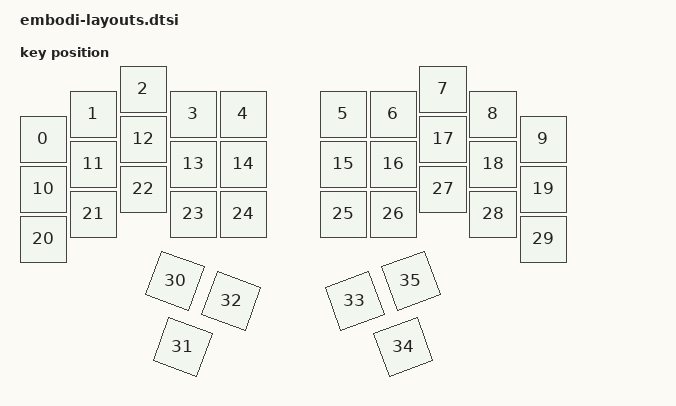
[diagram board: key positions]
#include <physical_layouts.dtsi>

#include <physical_layouts.dtsi>

/ {
    physical_layout0: physical_layout_0 {
        compatible = "zmk,physical-layout";
        display-name = "Embodi";

        kscan = <&kscan0>;
        transform = <&matrix_transform0>;

        keys  //                     w   h    x    y     rot    rx    ry
            = <&key_physical_attrs 100 100    0  100       0     0     0>
            , <&key_physical_attrs 100 100  100   50       0     0     0>
            , <&key_physical_attrs 100 100  200    0       0     0     0>
            , <&key_physical_attrs 100 100  300   50       0     0     0>
            , <&key_physical_attrs 100 100  400   50       0     0     0>
            , <&key_physical_attrs 100 100  600   50       0     0     0>
            , <&key_physical_attrs 100 100  700   50       0     0     0>
            , <&key_physical_attrs 100 100  800    0       0     0     0>
            , <&key_physical_attrs 100 100  900   50       0     0     0>
            , <&key_physical_attrs 100 100 1000  100       0     0     0>
            , <&key_physical_attrs 100 100    0  200       0     0     0>
            , <&key_physical_attrs 100 100  100  150       0     0     0>
            , <&key_physical_attrs 100 100  200  100       0     0     0>
            , <&key_physical_attrs 100 100  300  150       0     0     0>
            , <&key_physical_attrs 100 100  400  150       0     0     0>
            , <&key_physical_attrs 100 100  600  150       0     0     0>
            , <&key_physical_attrs 100 100  700  150       0     0     0>
            , <&key_physical_attrs 100 100  800  100       0     0     0>
            , <&key_physical_attrs 100 100  900  150       0     0     0>
            , <&key_physical_attrs 100 100 1000  200       0     0     0>
            , <&key_physical_attrs 100 100    0  300       0     0     0>
            , <&key_physical_attrs 100 100  100  250       0     0     0>
            , <&key_physical_attrs 100 100  200  200       0     0     0>
            , <&key_physical_attrs 100 100  300  250       0     0     0>
            , <&key_physical_attrs 100 100  400  250       0     0     0>
            , <&key_physical_attrs 100 100  600  250       0     0     0>
            , <&key_physical_attrs 100 100  700  250       0     0     0>
            , <&key_physical_attrs 100 100  800  200       0     0     0>
            , <&key_physical_attrs 100 100  900  250       0     0     0>
            , <&key_physical_attrs 100 100 1000  300       0     0     0>
            , <&key_physical_attrs 100 100  240  400    2000   350   510>
            , <&key_physical_attrs 100 100  300  520    2000   350   510>
            , <&key_physical_attrs 100 100  360  400    2000   350   510>
            , <&key_physical_attrs 100 100  640  400 (-2000)   750   510>
            , <&key_physical_attrs 100 100  700  520 (-2000)   750   510>
            , <&key_physical_attrs 100 100  760  400 (-2000)   750   510>
            ;
    };
};
